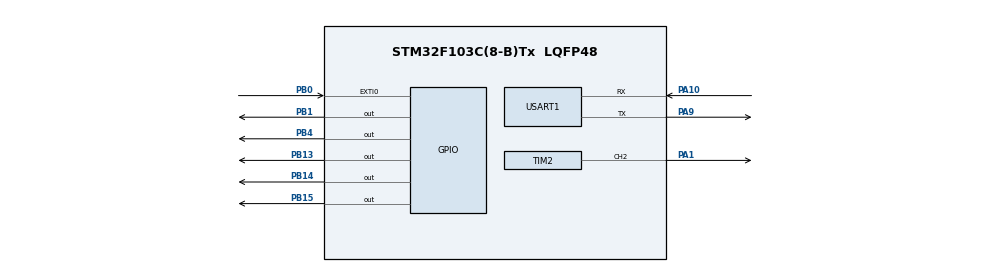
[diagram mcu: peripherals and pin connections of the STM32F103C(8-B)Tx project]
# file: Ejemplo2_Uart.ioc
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Mcu.Family=STM32F1
Mcu.Name=STM32F103C(8-B)Tx
Mcu.Package=LQFP48
NVIC.EXTI0_IRQn=true\:0\:0\:false\:false\:true\:true\:true\:true
NVIC.PriorityGroup=NVIC_PRIORITYGROUP_4
NVIC.TIM1_UP_IRQn=true\:0\:0\:false\:false\:true\:true\:true\:true
NVIC.USART1_IRQn=true\:0\:0\:false\:false\:true\:true\:true\:true
PA1.Signal=S_TIM2_CH2
PA10.Mode=Asynchronous
PA10.Signal=USART1_RX
PA13.Mode=Serial_Wire
PA13.Signal=SYS_JTMS-SWDIO
PA14.Mode=Serial_Wire
PA14.Signal=SYS_JTCK-SWCLK
PA9.Mode=Asynchronous
PA9.Signal=USART1_TX
PB0.GPIO_ModeDefaultEXTI=GPIO_MODE_IT_RISING
PB0.Signal=GPXTI0
PB1.Signal=GPIO_Output
PB13.Signal=GPIO_Output
PB14.Signal=GPIO_Output
PB15.Signal=GPIO_Output
PB4.Signal=GPIO_Output
ProjectManager.HeapSize=0x200
ProjectManager.StackSize=0x400
ProjectManager.TargetToolchain=STM32CubeIDE
RCC.APB1Freq_Value=8000000
RCC.APB2Freq_Value=8000000
SH.S_TIM2_CH2.0=TIM2_CH2,PWM Generation2 CH2
TIM1.Period=20-1
TIM1.Prescaler=8000-1
TIM2.Channel-PWM\ Generation2\ CH2=TIM_CHANNEL_2
TIM2.Period=8000-1
USART1.VirtualMode=VM_ASYNC
VP_TIM1_VS_ClockSourceINT.Mode=Internal
VP_TIM2_VS_ClockSourceINT.Mode=Internal
board=custom

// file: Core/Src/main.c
/* USER CODE BEGIN Header */
/**
  ******************************************************************************
  * @file           : main.c
  * @brief          : Main program body
  ******************************************************************************
  * @attention
  *
  * Copyright (c) 2022 STMicroelectronics.
  * All rights reserved.
  *
  * This software is licensed under terms that can be found in the LICENSE file
  * in the root directory of this software component.
  * If no LICENSE file comes with this software, it is provided AS-IS.
  *
  ******************************************************************************
  */
/* USER CODE END Header */
#include "main.h"

/* USER CODE BEGIN Includes */
#include <stdint.h>
/* USER CODE END Includes */

 TIM_HandleTypeDef htim1;
TIM_HandleTypeDef htim2;

UART_HandleTypeDef huart1;

void SystemClock_Config(void);
static void MX_GPIO_Init(void);
static void MX_USART1_UART_Init(void);
static void MX_TIM2_Init(void);
static void MX_TIM1_Init(void);

/* USER CODE BEGIN 0 */
uint8_t dato[20] = "Hola Mundo\n\r";
uint8_t dato_rx=0;
/* USER CODE END 0 */

int main(void)
{

  /* MCU Configuration--------------------------------------------------------*/

  /* Reset of all peripherals, Initializes the Flash interface and the Systick. */
  HAL_Init();

  /* Configure the system clock */
  SystemClock_Config();

  /* Initialize all configured peripherals */
  MX_GPIO_Init();
  MX_USART1_UART_Init();
  MX_TIM2_Init();
  MX_TIM1_Init();
  /* USER CODE BEGIN 2 */
HAL_UART_Receive_IT(&huart1, &dato_rx, 1);
HAL_TIM_Base_Start_IT(&htim1);
HAL_TIM_PWM_Start(&htim2, TIM_CHANNEL_2);
__HAL_TIM_SET_COMPARE(&htim2,TIM_CHANNEL_2,0);
uint16_t var;
  /* USER CODE END 2 */

  /* Infinite loop */
  /* USER CODE BEGIN WHILE */
  while (1)
  {

	  for (var = 0; var < 8000; var++) {
		  __HAL_TIM_SET_COMPARE(&htim2,TIM_CHANNEL_2,var);
		  HAL_Delay(1);
	}

	  //HAL_UART_Transmit(&huart1,(uint8_t *) dato, 20, 1000);
	  //HAL_Delay(500);

    /* USER CODE END WHILE */

  }
}

void SystemClock_Config(void)
{
  RCC_OscInitTypeDef RCC_OscInitStruct = {0};
  RCC_ClkInitTypeDef RCC_ClkInitStruct = {0};

  /** Initializes the RCC Oscillators according to the specified parameters
  * in the RCC_OscInitTypeDef structure.
  */
  RCC_OscInitStruct.OscillatorType = RCC_OSCILLATORTYPE_HSI;
  RCC_OscInitStruct.HSIState = RCC_HSI_ON;
  RCC_OscInitStruct.HSICalibrationValue = RCC_HSICALIBRATION_DEFAULT;
  RCC_OscInitStruct.PLL.PLLState = RCC_PLL_NONE;
  if (HAL_RCC_OscConfig(&RCC_OscInitStruct) != HAL_OK)
  {
    Error_Handler();
  }

  /** Initializes the CPU, AHB and APB buses clocks
  */
  RCC_ClkInitStruct.ClockType = RCC_CLOCKTYPE_HCLK|RCC_CLOCKTYPE_SYSCLK
                              |RCC_CLOCKTYPE_PCLK1|RCC_CLOCKTYPE_PCLK2;
  RCC_ClkInitStruct.SYSCLKSource = RCC_SYSCLKSOURCE_HSI;
  RCC_ClkInitStruct.AHBCLKDivider = RCC_SYSCLK_DIV1;
  RCC_ClkInitStruct.APB1CLKDivider = RCC_HCLK_DIV1;
  RCC_ClkInitStruct.APB2CLKDivider = RCC_HCLK_DIV1;

  if (HAL_RCC_ClockConfig(&RCC_ClkInitStruct, FLASH_LATENCY_0) != HAL_OK)
  {
    Error_Handler();
  }
}

static void MX_TIM1_Init(void)
{

  TIM_ClockConfigTypeDef sClockSourceConfig = {0};
  TIM_MasterConfigTypeDef sMasterConfig = {0};

  htim1.Instance = TIM1;
  htim1.Init.Prescaler = 8000-1;
  htim1.Init.CounterMode = TIM_COUNTERMODE_UP;
  htim1.Init.Period = 20-1;
  htim1.Init.ClockDivision = TIM_CLOCKDIVISION_DIV1;
  htim1.Init.RepetitionCounter = 0;
  htim1.Init.AutoReloadPreload = TIM_AUTORELOAD_PRELOAD_DISABLE;
  if (HAL_TIM_Base_Init(&htim1) != HAL_OK)
  {
    Error_Handler();
  }
  sClockSourceConfig.ClockSource = TIM_CLOCKSOURCE_INTERNAL;
  if (HAL_TIM_ConfigClockSource(&htim1, &sClockSourceConfig) != HAL_OK)
  {
    Error_Handler();
  }
  sMasterConfig.MasterOutputTrigger = TIM_TRGO_RESET;
  sMasterConfig.MasterSlaveMode = TIM_MASTERSLAVEMODE_DISABLE;
  if (HAL_TIMEx_MasterConfigSynchronization(&htim1, &sMasterConfig) != HAL_OK)
  {
    Error_Handler();
  }

}

static void MX_TIM2_Init(void)
{

  TIM_ClockConfigTypeDef sClockSourceConfig = {0};
  TIM_MasterConfigTypeDef sMasterConfig = {0};
  TIM_OC_InitTypeDef sConfigOC = {0};

  htim2.Instance = TIM2;
  htim2.Init.Prescaler = 0;
  htim2.Init.CounterMode = TIM_COUNTERMODE_UP;
  htim2.Init.Period = 8000-1;
  htim2.Init.ClockDivision = TIM_CLOCKDIVISION_DIV1;
  htim2.Init.AutoReloadPreload = TIM_AUTORELOAD_PRELOAD_DISABLE;
  if (HAL_TIM_Base_Init(&htim2) != HAL_OK)
  {
    Error_Handler();
  }
  sClockSourceConfig.ClockSource = TIM_CLOCKSOURCE_INTERNAL;
  if (HAL_TIM_ConfigClockSource(&htim2, &sClockSourceConfig) != HAL_OK)
  {
    Error_Handler();
  }
  if (HAL_TIM_PWM_Init(&htim2) != HAL_OK)
  {
    Error_Handler();
  }
  sMasterConfig.MasterOutputTrigger = TIM_TRGO_RESET;
  sMasterConfig.MasterSlaveMode = TIM_MASTERSLAVEMODE_DISABLE;
  if (HAL_TIMEx_MasterConfigSynchronization(&htim2, &sMasterConfig) != HAL_OK)
  {
    Error_Handler();
  }
  sConfigOC.OCMode = TIM_OCMODE_PWM1;
  sConfigOC.Pulse = 0;
  sConfigOC.OCPolarity = TIM_OCPOLARITY_HIGH;
  sConfigOC.OCFastMode = TIM_OCFAST_DISABLE;
  if (HAL_TIM_PWM_ConfigChannel(&htim2, &sConfigOC, TIM_CHANNEL_2) != HAL_OK)
  {
    Error_Handler();
  }
  HAL_TIM_MspPostInit(&htim2);

}

static void MX_USART1_UART_Init(void)
{

  huart1.Instance = USART1;
  huart1.Init.BaudRate = 115200;
  huart1.Init.WordLength = UART_WORDLENGTH_8B;
  huart1.Init.StopBits = UART_STOPBITS_1;
  huart1.Init.Parity = UART_PARITY_NONE;
  huart1.Init.Mode = UART_MODE_TX_RX;
  huart1.Init.HwFlowCtl = UART_HWCONTROL_NONE;
  huart1.Init.OverSampling = UART_OVERSAMPLING_16;
  if (HAL_UART_Init(&huart1) != HAL_OK)
  {
    Error_Handler();
  }

}

static void MX_GPIO_Init(void)
{
  GPIO_InitTypeDef GPIO_InitStruct = {0};

  /* GPIO Ports Clock Enable */
  __HAL_RCC_GPIOA_CLK_ENABLE();
  __HAL_RCC_GPIOB_CLK_ENABLE();

  /*Configure GPIO pin Output Level */
  HAL_GPIO_WritePin(GPIOB, GPIO_PIN_1|GPIO_PIN_13|GPIO_PIN_14|GPIO_PIN_15
                          |GPIO_PIN_4, GPIO_PIN_RESET);

  /*Configure GPIO pin : PB0 */
  GPIO_InitStruct.Pin = GPIO_PIN_0;
  GPIO_InitStruct.Mode = GPIO_MODE_IT_RISING;
  GPIO_InitStruct.Pull = GPIO_NOPULL;
  HAL_GPIO_Init(GPIOB, &GPIO_InitStruct);

  /*Configure GPIO pins : PB1 PB13 PB14 PB15
                           PB4 */
  GPIO_InitStruct.Pin = GPIO_PIN_1|GPIO_PIN_13|GPIO_PIN_14|GPIO_PIN_15
                          |GPIO_PIN_4;
  GPIO_InitStruct.Mode = GPIO_MODE_OUTPUT_PP;
  GPIO_InitStruct.Pull = GPIO_NOPULL;
  GPIO_InitStruct.Speed = GPIO_SPEED_FREQ_LOW;
  HAL_GPIO_Init(GPIOB, &GPIO_InitStruct);

  /* EXTI interrupt init*/
  HAL_NVIC_SetPriority(EXTI0_IRQn, 0, 0);
  HAL_NVIC_EnableIRQ(EXTI0_IRQn);

}

/* USER CODE BEGIN 4 */

void HAL_TIM_PeriodElapsedCallback(TIM_HandleTypeDef *htim){

	if (htim == &htim1) {

		HAL_GPIO_TogglePin(GPIOB, GPIO_PIN_1);
	}

}

void HAL_GPIO_EXTI_Callback(uint16_t GPIO_Pin){

	if (GPIO_Pin == GPIO_PIN_0) {

		HAL_GPIO_TogglePin(GPIOB, GPIO_PIN_4);
	} else {
		__NOP();
	}

}

void HAL_UART_RxCpltCallback(UART_HandleTypeDef *huart){

	switch (dato_rx) {
		case 'A':
			 HAL_GPIO_WritePin(GPIOB, GPIO_PIN_13, GPIO_PIN_SET);
			break;
		case 'B':
			 HAL_GPIO_WritePin(GPIOB, GPIO_PIN_13, GPIO_PIN_RESET);
			break;
		case 'C':
			 HAL_GPIO_WritePin(GPIOB, GPIO_PIN_14, GPIO_PIN_SET);
			break;
		case 'D':
			 HAL_GPIO_WritePin(GPIOB, GPIO_PIN_14, GPIO_PIN_RESET);
			break;
		case 'E':
			 HAL_GPIO_WritePin(GPIOB, GPIO_PIN_15, GPIO_PIN_SET);
			break;
		case 'F':
			 HAL_GPIO_WritePin(GPIOB, GPIO_PIN_15, GPIO_PIN_RESET);
			break;
	}

	HAL_UART_Receive_IT(&huart1, &dato_rx, 1);
}

/* USER CODE END 4 */

void Error_Handler(void)
{
  __disable_irq();
  while (1)
  {
  }
}
